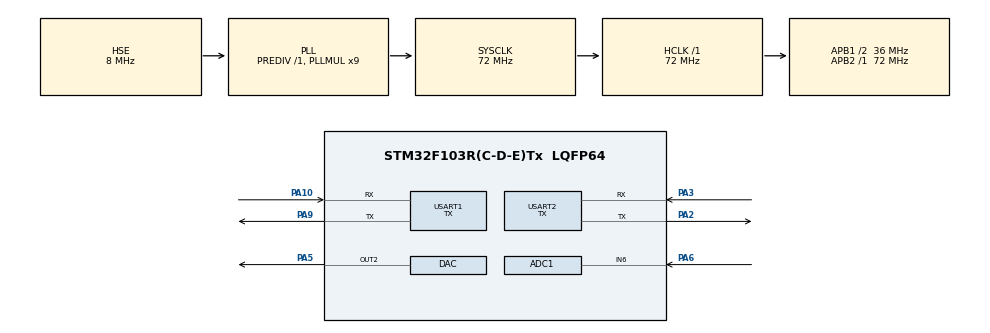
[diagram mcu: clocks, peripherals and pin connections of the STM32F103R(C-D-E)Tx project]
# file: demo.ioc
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ADC1.Channel-0\#ChannelRegularConversion=ADC_CHANNEL_6
ADC1.ContinuousConvMode=DISABLE
ADC1.NbrOfConversionFlag=1
ADC1.Rank-0\#ChannelRegularConversion=1
ADC1.SamplingTime-0\#ChannelRegularConversion=ADC_SAMPLETIME_55CYCLES_5
ADC1.master=1
DAC.DAC_Trigger2=DAC_TRIGGER_NONE
Mcu.Family=STM32F1
Mcu.Name=STM32F103R(C-D-E)Tx
Mcu.Package=LQFP64
NVIC.PriorityGroup=NVIC_PRIORITYGROUP_4
NVIC.USART1_IRQn=true\:0\:0\:false\:false\:true\:true\:true\:true
PA10.Mode=Asynchronous
PA10.Signal=USART1_RX
PA13.Mode=Serial_Wire
PA13.Signal=SYS_JTMS-SWDIO
PA14.Mode=Serial_Wire
PA14.Signal=SYS_JTCK-SWCLK
PA2.Mode=Asynchronous
PA2.Signal=USART2_TX
PA3.Mode=Asynchronous
PA3.Signal=USART2_RX
PA5.Signal=COMP_DAC2_group
PA6.Signal=ADCx_IN6
PA9.Mode=Asynchronous
PA9.Signal=USART1_TX
PD0-OSC_IN.Mode=HSE-External-Oscillator
PD0-OSC_IN.Signal=RCC_OSC_IN
PD1-OSC_OUT.Mode=HSE-External-Oscillator
PD1-OSC_OUT.Signal=RCC_OSC_OUT
ProjectManager.HeapSize=0x600
ProjectManager.StackSize=0x600
ProjectManager.TargetToolchain=MDK-ARM V5
RCC.ADCPresc=RCC_ADCPCLK2_DIV6
RCC.AHBFreq_Value=72000000
RCC.APB1CLKDivider=RCC_HCLK_DIV2
RCC.APB1Freq_Value=36000000
RCC.APB1TimFreq_Value=72000000
RCC.APB2Freq_Value=72000000
RCC.APB2TimFreq_Value=72000000
RCC.HCLKFreq_Value=72000000
RCC.PLLMUL=RCC_PLL_MUL9
RCC.PLLSourceVirtual=RCC_PLLSOURCE_HSE
RCC.SYSCLKFreq_VALUE=72000000
RCC.SYSCLKSource=RCC_SYSCLKSOURCE_PLLCLK
RCC.USBFreq_Value=72000000
SH.ADCx_IN6.0=ADC1_IN6,IN6
SH.COMP_DAC2_group.0=DAC_OUT2,DAC_OUT2
USART1.Mode=MODE_TX
USART1.VirtualMode=VM_ASYNC
USART2.Mode=MODE_TX
USART2.VirtualMode=VM_ASYNC
board=custom

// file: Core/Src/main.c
/* USER CODE BEGIN Header */
/**
 ******************************************************************************
 * @file           : main.c
 * @brief          : Main program body
 ******************************************************************************
 * @attention
 *
 * <h2><center>&copy; Copyright (c) 2022 STMicroelectronics.
 * All rights reserved.</center></h2>
 *
 * This software component is licensed by ST under BSD 3-Clause license,
 * the "License"; You may not use this file except in compliance with the
 * License. You may obtain a copy of the License at:
 *                        opensource.org/licenses/BSD-3-Clause
 *
 ******************************************************************************
 */
/* USER CODE END Header */
#include "main.h"
#include "adc.h"
#include "dac.h"
#include "gpio.h"
#include "usart.h"

/* USER CODE BEGIN Includes */
#include "arm_math.h"
#include "stdlib.h"
/* USER CODE END Includes */

void SystemClock_Config(void);

/* USER CODE BEGIN 0 */

uint16_t get_adc() {
    HAL_ADC_Start(&hadc1);
    HAL_ADC_PollForConversion(&hadc1, 50);  // timeout = 50ms
    while (HAL_IS_BIT_CLR(HAL_ADC_GetState(&hadc1), HAL_ADC_STATE_REG_EOC)) {}
    return HAL_ADC_GetValue(&hadc1);
}

void set_dac(uint16_t val) {
    HAL_DAC_SetValue(&hdac, DAC_CHANNEL_2, DAC_ALIGN_12B_R, val);
    HAL_DAC_Start(&hdac, DAC_CHANNEL_2);
}

/* USER CODE END 0 */

int main(void) {

    /* MCU Configuration--------------------------------------------------------*/

    /* Reset of all peripherals, Initializes the Flash interface and the Systick. */
    HAL_Init();

    /* Configure the system clock */
    SystemClock_Config();

    /* Initialize all configured peripherals */
    MX_GPIO_Init();
    MX_USART1_UART_Init();
    MX_USART2_UART_Init();
    MX_ADC1_Init();
    MX_DAC_Init();
    /* USER CODE BEGIN 2 */

    HAL_ADCEx_Calibration_Start(&hadc1);  // ADC 校准 (必要的)

    arm_pid_instance_f32 pid;

    pid.Kd = 0;
    pid.Ki = 16;
    pid.Kp = 100;

    arm_pid_init_f32(&pid, 1);

    /* USER CODE END 2 */

    /* Infinite loop */
    /* USER CODE BEGIN WHILE */

    float32_t pid_val = .0f,
              adc_val = .0f,
              adc_ref = 2678. / 4095 * 3.3;  // 目标值：dac = 2678, 输出 = 2.15809v

    uint16_t adc_val_u16;

    while (1) {
        pid_val = arm_pid_f32(&pid, adc_ref - adc_val);  // PID处理，输入为误差信号
        if (pid_val >= 4095) pid_val = 4095;
        set_dac(pid_val);
        adc_val_u16 = get_adc();
        adc_val     = adc_val_u16 / 4095. * 3.3;

        printf("%f\t%d\t%d\r\n", adc_val, (uint16_t)pid_val, adc_val_u16);
        HAL_Delay(50);
        /* USER CODE END WHILE */

    }
}

void SystemClock_Config(void) {
    RCC_OscInitTypeDef       RCC_OscInitStruct = {0};
    RCC_ClkInitTypeDef       RCC_ClkInitStruct = {0};
    RCC_PeriphCLKInitTypeDef PeriphClkInit     = {0};

    /** Initializes the RCC Oscillators according to the specified parameters
     * in the RCC_OscInitTypeDef structure.
     */
    RCC_OscInitStruct.OscillatorType = RCC_OSCILLATORTYPE_HSE;
    RCC_OscInitStruct.HSEState       = RCC_HSE_ON;
    RCC_OscInitStruct.HSEPredivValue = RCC_HSE_PREDIV_DIV1;
    RCC_OscInitStruct.HSIState       = RCC_HSI_ON;
    RCC_OscInitStruct.PLL.PLLState   = RCC_PLL_ON;
    RCC_OscInitStruct.PLL.PLLSource  = RCC_PLLSOURCE_HSE;
    RCC_OscInitStruct.PLL.PLLMUL     = RCC_PLL_MUL9;
    if (HAL_RCC_OscConfig(&RCC_OscInitStruct) != HAL_OK) {
        Error_Handler();
    }

    /** Initializes the CPU, AHB and APB buses clocks
     */
    RCC_ClkInitStruct.ClockType      = RCC_CLOCKTYPE_HCLK | RCC_CLOCKTYPE_SYSCLK | RCC_CLOCKTYPE_PCLK1 | RCC_CLOCKTYPE_PCLK2;
    RCC_ClkInitStruct.SYSCLKSource   = RCC_SYSCLKSOURCE_PLLCLK;
    RCC_ClkInitStruct.AHBCLKDivider  = RCC_SYSCLK_DIV1;
    RCC_ClkInitStruct.APB1CLKDivider = RCC_HCLK_DIV2;
    RCC_ClkInitStruct.APB2CLKDivider = RCC_HCLK_DIV1;

    if (HAL_RCC_ClockConfig(&RCC_ClkInitStruct, FLASH_LATENCY_2) != HAL_OK) {
        Error_Handler();
    }
    PeriphClkInit.PeriphClockSelection = RCC_PERIPHCLK_ADC;
    PeriphClkInit.AdcClockSelection    = RCC_ADCPCLK2_DIV6;
    if (HAL_RCCEx_PeriphCLKConfig(&PeriphClkInit) != HAL_OK) {
        Error_Handler();
    }
}

void Error_Handler(void) {
}
